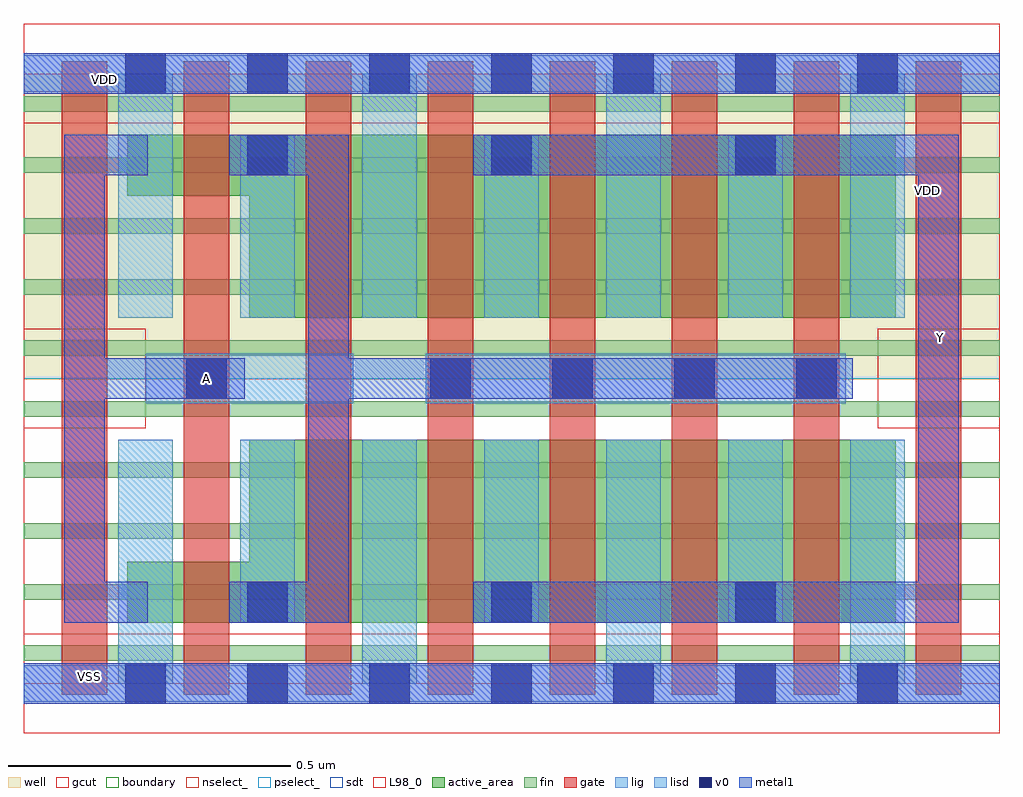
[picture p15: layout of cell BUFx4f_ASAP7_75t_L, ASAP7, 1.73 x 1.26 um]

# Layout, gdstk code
import gdstk
lib = gdstk.Library(unit=1e-6, precision=2.5e-10)
def R(c, l, rs):  # rectangles x0, y0, x1, y1
    for r in rs: c.add(gdstk.rectangle(r[:2], r[2:], *l))
def A(c, l, x, y, w, h, nx, ny, dx, dy):  # array of equal rectangles
    R(c, l, [(x+i*dx, y+j*dy, x+i*dx+w, y+j*dy+h) for i in range(nx) for j in range(ny)])
def P(c, l, *ps):  # polygons
    for p in ps: c.add(gdstk.Polygon(p, *l))
well = (1, 0)
fin = (2, 0)
gate = (7, 0)
gcut = (10, 0)
active_area = (11, 0)
nselect_ = (12, 0)
pselect_ = (13, 0)
lig = (16, 0)
lisd = (17, 0)
v0 = (18, 0)
metal1 = (19, 0)
sdt = (88, 0)
L98_0 = (98, 0)
boundary = (100, 0)

bufx4f_asap7_75t_l = lib.new_cell('BUFx4f_ASAP7_75t_L')
R(bufx4f_asap7_75t_l, well, [(0,0.54,1.728,1.08)])
A(bufx4f_asap7_75t_l, fin, 0, 0.04, 1.728, 0.028, 1, 10, 0, 0.108)
A(bufx4f_asap7_75t_l, gate, 0.068, -0.02, 0.08, 1.122, 8, 1, 0.216, 0)
R(bufx4f_asap7_75t_l, gcut, [(0,-0.088,1.728,0.088), (0,0.452,0.216,0.628), (1.512,0.452,1.728,0.628), (0,0.992,1.728,1.168)])
P(bufx4f_asap7_75t_l, active_area, [(1.544,0.972),(0.184,0.972),(0.184,0.864),(0.4,0.864),(0.4,0.648),(1.544,0.648)],
  [(1.544,0.432),(0.4,0.432),(0.4,0.216),(0.184,0.216),(0.184,0.108),(1.544,0.108)])
R(bufx4f_asap7_75t_l, nselect_, [(0,0,1.728,0.54)])
R(bufx4f_asap7_75t_l, pselect_, [(0,0.54,1.728,1.08)])
R(bufx4f_asap7_75t_l, lig, [(0,-0.032,1.728,0.032), (0.216,0.496,0.584,0.584), (0.712,0.496,1.456,0.584), (0,1.048,1.728,1.112)])
A(bufx4f_asap7_75t_l, lisd, 0.168, 0, 0.096, 0.432, 4, 2, 0.432, 0.648)
A(bufx4f_asap7_75t_l, lisd, 0.384, 0.108, 0.096, 0.324, 3, 2, 0.432, 0.54)
A(bufx4f_asap7_75t_l, v0, 0.18, -0.036, 0.072, 0.072, 7, 2, 0.216, 1.08)
A(bufx4f_asap7_75t_l, v0, 0.396, 0.108, 0.072, 0.072, 3, 2, 0.432, 0.792)
A(bufx4f_asap7_75t_l, v0, 0.72, 0.504, 0.072, 0.072, 4, 1, 0.216, 0)
R(bufx4f_asap7_75t_l, v0, [(0.288,0.504,0.36,0.576)])
R(bufx4f_asap7_75t_l, metal1, [(0,-0.036,1.728,0.036), (0,1.044,1.728,1.116)])
P(bufx4f_asap7_75t_l, metal1, [(0.392,0.576),(0.144,0.576),(0.144,0.9),(0.22,0.9),(0.22,0.972),(0.072,0.972),(0.072,0.108),(0.22,0.108),(0.22,0.18),(0.144,0.18),(0.144,0.504),(0.392,0.504)],
  [(1.468,0.576),(0.576,0.576),(0.576,0.972),(0.364,0.972),(0.364,0.9),(0.504,0.9),(0.504,0.18),(0.364,0.18),(0.364,0.108),(0.576,0.108),(0.576,0.504),(1.468,0.504)],
  [(1.656,0.972),(0.796,0.972),(0.796,0.9),(1.584,0.9),(1.584,0.18),(0.796,0.18),(0.796,0.108),(1.656,0.108)])
A(bufx4f_asap7_75t_l, sdt, 0.168, 0.108, 0.096, 0.324, 7, 2, 0.216, 0.54)
R(bufx4f_asap7_75t_l, L98_0, [(0,0,1.728,1.08)])
R(bufx4f_asap7_75t_l, boundary, [(0,0,1.728,1.08)])
bufx4f_asap7_75t_l.add(gdstk.Label('VDD', (1.6,0.872), layer=1, texttype=251))
bufx4f_asap7_75t_l.add(gdstk.Label('VSS', (0.116,0.012), layer=19, texttype=251))
bufx4f_asap7_75t_l.add(gdstk.Label('VDD', (0.144,1.07), layer=19, texttype=251))
bufx4f_asap7_75t_l.add(gdstk.Label('A', (0.324,0.54), layer=19, texttype=251))
bufx4f_asap7_75t_l.add(gdstk.Label('Y', (1.624,0.612), layer=19, texttype=251))
bufx4f_asap7_75t_l.add(gdstk.Label('VSS', (1.876,0.868), layer=3, texttype=251))

lib.write_gds('BUFx4f_ASAP7_75t_L.gds')
